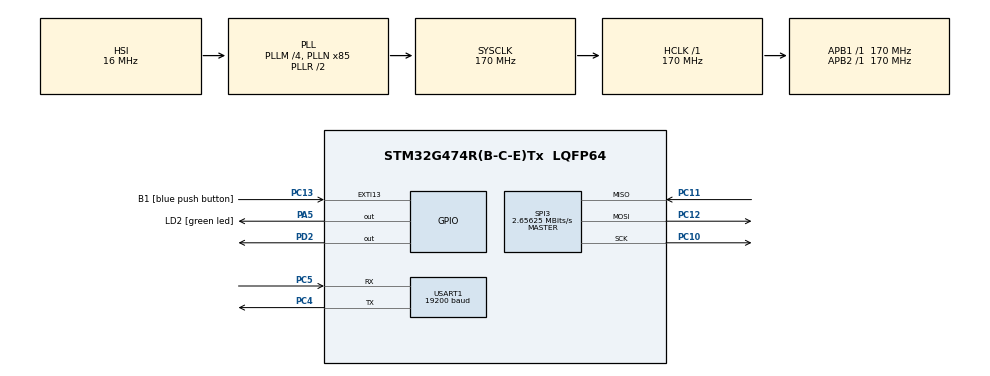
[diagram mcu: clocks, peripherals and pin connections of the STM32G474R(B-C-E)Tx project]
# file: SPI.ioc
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Mcu.Family=STM32G4
Mcu.Name=STM32G474R(B-C-E)Tx
Mcu.Package=LQFP64
NVIC.EXTI15_10_IRQn=true\:0\:0\:false\:false\:true\:true\:true\:true
NVIC.PriorityGroup=NVIC_PRIORITYGROUP_4
NVIC.SPI3_IRQn=true\:0\:0\:false\:false\:true\:true\:true\:true
NVIC.TIM1_UP_TIM16_IRQn=true\:0\:0\:false\:false\:true\:true\:true\:true
PA13.GPIO_Label=T_SWDIO
PA13.Mode=Serial_Wire
PA13.Signal=SYS_JTMS-SWDIO
PA14.GPIO_Label=T_SWCLK
PA14.Mode=Serial_Wire
PA14.Signal=SYS_JTCK-SWCLK
PA2.GPIO_Label=LPUART1_TX [STLINKV3E_VCP_RX]
PA2.Signal=LPUART1_TX
PA3.GPIO_Label=LPUART1_RX [STLINKV3E_VCP_TX]
PA3.Signal=LPUART1_RX
PA5.GPIO_Label=LD2 [green led]
PA5.Signal=GPIO_Output
PB3.GPIO_Label=T_SWO
PB3.Signal=SYS_JTDO-SWO
PC10.Mode=Full_Duplex_Master
PC10.Signal=SPI3_SCK
PC11.Mode=Full_Duplex_Master
PC11.Signal=SPI3_MISO
PC12.Mode=Full_Duplex_Master
PC12.Signal=SPI3_MOSI
PC13.GPIO_Label=B1 [blue push button]
PC13.Signal=GPXTI13
PC14-OSC32_IN.Mode=LSE-External-Oscillator
PC14-OSC32_IN.Signal=RCC_OSC32_IN
PC15-OSC32_OUT.Mode=LSE-External-Oscillator
PC15-OSC32_OUT.Signal=RCC_OSC32_OUT
PC4.Mode=Asynchronous
PC4.Signal=USART1_TX
PC5.Mode=Asynchronous
PC5.Signal=USART1_RX
PD2.PinState=GPIO_PIN_SET
PD2.Signal=GPIO_Output
PF0-OSC_IN.Mode=HSE-External-Oscillator
PF0-OSC_IN.Signal=RCC_OSC_IN
PF1-OSC_OUT.Mode=HSE-External-Oscillator
PF1-OSC_OUT.Signal=RCC_OSC_OUT
ProjectManager.HeapSize=0x200
ProjectManager.StackSize=0x400
ProjectManager.TargetToolchain=STM32CubeIDE
RCC.ADC12Freq_Value=170000000
RCC.ADC345Freq_Value=170000000
RCC.AHBFreq_Value=170000000
RCC.APB1Freq_Value=170000000
RCC.APB1TimFreq_Value=170000000
RCC.APB2Freq_Value=170000000
RCC.APB2TimFreq_Value=170000000
RCC.CortexFreq_Value=170000000
RCC.EXTERNAL_CLOCK_VALUE=12288000
RCC.HCLKFreq_Value=170000000
RCC.HSE_VALUE=24000000
RCC.HSI48_VALUE=48000000
RCC.HSI_VALUE=16000000
RCC.PLLM=RCC_PLLM_DIV4
RCC.PLLN=85
RCC.RTCClockSelection=RCC_RTCCLKSOURCE_LSE
RCC.SYSCLKFreq_VALUE=170000000
RCC.SYSCLKSource=RCC_SYSCLKSOURCE_PLLCLK
RCC.USBFreq_Value=170000000
RCC.VCOOutputFreq_Value=340000000
SPI3.BaudRatePrescaler=SPI_BAUDRATEPRESCALER_64
SPI3.CLKPolarity=SPI_POLARITY_LOW
SPI3.CalculateBaudRate=2.65625 MBits/s
SPI3.DataSize=SPI_DATASIZE_8BIT
SPI3.Direction=SPI_DIRECTION_2LINES
SPI3.Mode=SPI_MODE_MASTER
SPI3.VirtualType=VM_MASTER
TIM16.PeriodNoDither=1145
TIM16.Prescaler=169
USART1.BaudRate=19200
USART1.Parity=PARITY_EVEN
USART1.VirtualMode-Asynchronous=VM_ASYNC
USART1.WordLength=WORDLENGTH_9B
VP_SYS_VS_DBSignals.Mode=DisableDeadBatterySignals
VP_TIM16_VS_ClockSourceINT.Mode=Enable_Timer
VP_TIM16_VS_OPM.Mode=OPM_bit
board=NUCLEO-G474RE

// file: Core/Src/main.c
/* USER CODE BEGIN Header */
/**
  ******************************************************************************
  * @file           : main.c
  * @brief          : Main program body
  ******************************************************************************
  * @attention
  *
  * Copyright (c) 2024 STMicroelectronics.
  * All rights reserved.
  *
  * This software is licensed under terms that can be found in the LICENSE file
  * in the root directory of this software component.
  * If no LICENSE file comes with this software, it is provided AS-IS.
  *
  ******************************************************************************
  */
/* USER CODE END Header */
#include "main.h"

/* USER CODE BEGIN Includes */
#include "ModBusRTU.h"

/* USER CODE END Includes */

SPI_HandleTypeDef hspi3;

TIM_HandleTypeDef htim16;

UART_HandleTypeDef huart1;

/* USER CODE BEGIN PV */
uint8_t SPIRx[10];
uint8_t SPITx[10];
uint8_t Button[4];
uint8_t mode ;
uint8_t LightOrder[10];
uint8_t PushOrder[10];
uint8_t AnsCorrect=1;
uint8_t num;
uint8_t a[10];
uint8_t Rand;
uint8_t Equal;
uint8_t RandNum;
uint8_t LedOff;
uint8_t StartGame;
uint8_t Score;
uint8_t FinalScore;
/* USER CODE END PV */

void SystemClock_Config(void);
static void MX_GPIO_Init(void);
static void MX_SPI3_Init(void);
static void MX_TIM16_Init(void);
static void MX_USART1_UART_Init(void);
/* USER CODE BEGIN PFP */
void IODIRA_Init();
void IODIRB_Init();
void SPITxRx_Setup();
void SPITxRx_readIO();
void SPITxRx_writeIO();
uint8_t AnsCheck();
/* USER CODE END PFP */

int main(void)
{

  /* MCU Configuration--------------------------------------------------------*/

  /* Reset of all peripherals, Initializes the Flash interface and the Systick. */
  HAL_Init();

  /* Configure the system clock */
  SystemClock_Config();

  /* Initialize all configured peripherals */
  MX_GPIO_Init();
  MX_SPI3_Init();
  MX_TIM16_Init();
  MX_USART1_UART_Init();
  /* USER CODE BEGIN 2 */
  SPITxRx_Setup();
  IODIRB_Init(); //Led
  IODIRA_Init(); //Button
  num = 4;
  mode = 1;
  StartGame = 0;
  /* USER CODE END 2 */

  /* Infinite loop */
  while (1)
  {

    /* USER CODE BEGIN 3 */
	Rand = Rand +1;
	if(StartGame == 1){
		static uint64_t timestamp = 0;
		if (HAL_GetTick() > timestamp){
			if(mode == 1){
				  RandNum = (Rand%4)+1;
				  SPITxRx_writeIO();
				  a[0] += 1;
				  timestamp = HAL_GetTick() + 800;

			}else if(mode ==2){
				SPITxRx_readIO();

			}else if(mode ==3)
				a[9]=AnsCheck();
		}
	}else if(StartGame == 0){
		SPITxRx_readIO();
		}
	Score = num-4;

  }
  /* USER CODE END 3 */
}

void SystemClock_Config(void)
{
  RCC_OscInitTypeDef RCC_OscInitStruct = {0};
  RCC_ClkInitTypeDef RCC_ClkInitStruct = {0};

  /** Configure the main internal regulator output voltage
  */
  HAL_PWREx_ControlVoltageScaling(PWR_REGULATOR_VOLTAGE_SCALE1_BOOST);

  /** Initializes the RCC Oscillators according to the specified parameters
  * in the RCC_OscInitTypeDef structure.
  */
  RCC_OscInitStruct.OscillatorType = RCC_OSCILLATORTYPE_HSI;
  RCC_OscInitStruct.HSIState = RCC_HSI_ON;
  RCC_OscInitStruct.HSICalibrationValue = RCC_HSICALIBRATION_DEFAULT;
  RCC_OscInitStruct.PLL.PLLState = RCC_PLL_ON;
  RCC_OscInitStruct.PLL.PLLSource = RCC_PLLSOURCE_HSI;
  RCC_OscInitStruct.PLL.PLLM = RCC_PLLM_DIV4;
  RCC_OscInitStruct.PLL.PLLN = 85;
  RCC_OscInitStruct.PLL.PLLP = RCC_PLLP_DIV2;
  RCC_OscInitStruct.PLL.PLLQ = RCC_PLLQ_DIV2;
  RCC_OscInitStruct.PLL.PLLR = RCC_PLLR_DIV2;
  if (HAL_RCC_OscConfig(&RCC_OscInitStruct) != HAL_OK)
  {
    Error_Handler();
  }

  /** Initializes the CPU, AHB and APB buses clocks
  */
  RCC_ClkInitStruct.ClockType = RCC_CLOCKTYPE_HCLK|RCC_CLOCKTYPE_SYSCLK
                              |RCC_CLOCKTYPE_PCLK1|RCC_CLOCKTYPE_PCLK2;
  RCC_ClkInitStruct.SYSCLKSource = RCC_SYSCLKSOURCE_PLLCLK;
  RCC_ClkInitStruct.AHBCLKDivider = RCC_SYSCLK_DIV1;
  RCC_ClkInitStruct.APB1CLKDivider = RCC_HCLK_DIV1;
  RCC_ClkInitStruct.APB2CLKDivider = RCC_HCLK_DIV1;

  if (HAL_RCC_ClockConfig(&RCC_ClkInitStruct, FLASH_LATENCY_4) != HAL_OK)
  {
    Error_Handler();
  }
}

static void MX_SPI3_Init(void)
{

  /* SPI3 parameter configuration*/
  hspi3.Instance = SPI3;
  hspi3.Init.Mode = SPI_MODE_MASTER;
  hspi3.Init.Direction = SPI_DIRECTION_2LINES;
  hspi3.Init.DataSize = SPI_DATASIZE_8BIT;
  hspi3.Init.CLKPolarity = SPI_POLARITY_LOW;
  hspi3.Init.CLKPhase = SPI_PHASE_1EDGE;
  hspi3.Init.NSS = SPI_NSS_SOFT;
  hspi3.Init.BaudRatePrescaler = SPI_BAUDRATEPRESCALER_64;
  hspi3.Init.FirstBit = SPI_FIRSTBIT_MSB;
  hspi3.Init.TIMode = SPI_TIMODE_DISABLE;
  hspi3.Init.CRCCalculation = SPI_CRCCALCULATION_DISABLE;
  hspi3.Init.CRCPolynomial = 7;
  hspi3.Init.CRCLength = SPI_CRC_LENGTH_DATASIZE;
  hspi3.Init.NSSPMode = SPI_NSS_PULSE_ENABLE;
  if (HAL_SPI_Init(&hspi3) != HAL_OK)
  {
    Error_Handler();
  }

}

static void MX_TIM16_Init(void)
{

  htim16.Instance = TIM16;
  htim16.Init.Prescaler = 169;
  htim16.Init.CounterMode = TIM_COUNTERMODE_UP;
  htim16.Init.Period = 1145;
  htim16.Init.ClockDivision = TIM_CLOCKDIVISION_DIV1;
  htim16.Init.RepetitionCounter = 0;
  htim16.Init.AutoReloadPreload = TIM_AUTORELOAD_PRELOAD_DISABLE;
  if (HAL_TIM_Base_Init(&htim16) != HAL_OK)
  {
    Error_Handler();
  }
  if (HAL_TIM_OnePulse_Init(&htim16, TIM_OPMODE_SINGLE) != HAL_OK)
  {
    Error_Handler();
  }

}

static void MX_USART1_UART_Init(void)
{

  huart1.Instance = USART1;
  huart1.Init.BaudRate = 19200;
  huart1.Init.WordLength = UART_WORDLENGTH_9B;
  huart1.Init.StopBits = UART_STOPBITS_1;
  huart1.Init.Parity = UART_PARITY_EVEN;
  huart1.Init.Mode = UART_MODE_TX_RX;
  huart1.Init.HwFlowCtl = UART_HWCONTROL_NONE;
  huart1.Init.OverSampling = UART_OVERSAMPLING_16;
  huart1.Init.OneBitSampling = UART_ONE_BIT_SAMPLE_DISABLE;
  huart1.Init.ClockPrescaler = UART_PRESCALER_DIV1;
  huart1.AdvancedInit.AdvFeatureInit = UART_ADVFEATURE_NO_INIT;
  if (HAL_UART_Init(&huart1) != HAL_OK)
  {
    Error_Handler();
  }
  if (HAL_UARTEx_SetTxFifoThreshold(&huart1, UART_TXFIFO_THRESHOLD_1_8) != HAL_OK)
  {
    Error_Handler();
  }
  if (HAL_UARTEx_SetRxFifoThreshold(&huart1, UART_RXFIFO_THRESHOLD_1_8) != HAL_OK)
  {
    Error_Handler();
  }
  if (HAL_UARTEx_DisableFifoMode(&huart1) != HAL_OK)
  {
    Error_Handler();
  }

}

static void MX_GPIO_Init(void)
{
  GPIO_InitTypeDef GPIO_InitStruct = {0};

  /* GPIO Ports Clock Enable */
  __HAL_RCC_GPIOC_CLK_ENABLE();
  __HAL_RCC_GPIOF_CLK_ENABLE();
  __HAL_RCC_GPIOA_CLK_ENABLE();
  __HAL_RCC_GPIOD_CLK_ENABLE();
  __HAL_RCC_GPIOB_CLK_ENABLE();

  /*Configure GPIO pin Output Level */
  HAL_GPIO_WritePin(LD2_GPIO_Port, LD2_Pin, GPIO_PIN_RESET);

  /*Configure GPIO pin Output Level */
  HAL_GPIO_WritePin(GPIOD, GPIO_PIN_2, GPIO_PIN_SET);

  /*Configure GPIO pin : B1_Pin */
  GPIO_InitStruct.Pin = B1_Pin;
  GPIO_InitStruct.Mode = GPIO_MODE_IT_RISING;
  GPIO_InitStruct.Pull = GPIO_NOPULL;
  HAL_GPIO_Init(B1_GPIO_Port, &GPIO_InitStruct);

  /*Configure GPIO pins : LPUART1_TX_Pin LPUART1_RX_Pin */
  GPIO_InitStruct.Pin = LPUART1_TX_Pin|LPUART1_RX_Pin;
  GPIO_InitStruct.Mode = GPIO_MODE_AF_PP;
  GPIO_InitStruct.Pull = GPIO_NOPULL;
  GPIO_InitStruct.Speed = GPIO_SPEED_FREQ_LOW;
  GPIO_InitStruct.Alternate = GPIO_AF12_LPUART1;
  HAL_GPIO_Init(GPIOA, &GPIO_InitStruct);

  /*Configure GPIO pin : LD2_Pin */
  GPIO_InitStruct.Pin = LD2_Pin;
  GPIO_InitStruct.Mode = GPIO_MODE_OUTPUT_PP;
  GPIO_InitStruct.Pull = GPIO_NOPULL;
  GPIO_InitStruct.Speed = GPIO_SPEED_FREQ_LOW;
  HAL_GPIO_Init(LD2_GPIO_Port, &GPIO_InitStruct);

  /*Configure GPIO pin : PD2 */
  GPIO_InitStruct.Pin = GPIO_PIN_2;
  GPIO_InitStruct.Mode = GPIO_MODE_OUTPUT_PP;
  GPIO_InitStruct.Pull = GPIO_NOPULL;
  GPIO_InitStruct.Speed = GPIO_SPEED_FREQ_LOW;
  HAL_GPIO_Init(GPIOD, &GPIO_InitStruct);

  /* EXTI interrupt init*/
  HAL_NVIC_SetPriority(EXTI15_10_IRQn, 0, 0);
  HAL_NVIC_EnableIRQ(EXTI15_10_IRQn);

}

/* USER CODE BEGIN 4 */

void SPITxRx_readIO() //mode2
{
	if(HAL_GPIO_ReadPin(GPIOD,GPIO_PIN_2)){
		HAL_GPIO_WritePin(GPIOD, GPIO_PIN_2, 0); // CS Select
		SPITx[0] = 0b01000001;
		SPITx[1] = 0x12;
		SPITx[2] = 0;

		if(SPIRx[2]== 14){
			a[4] = 1;
			StartGame =1;
		}else if(SPIRx[2]== 13){
			a[4] = 2;
		}else if(SPIRx[2]== 11){
			a[4] = 3;
		}else if(SPIRx[2]== 7){
			a[4] = 4;
		}else{
			a[4] = 5;
		}

		if(a[5]!=a[4] && a[4] == 5 && a[5] != 0){
			PushOrder[a[2]-1] = a[5];
			a[2]=a[2]+1;
		}
		// set a[5] = old a[4]
		a[5] = a[4];
		a[8] +=1 ;

		if(a[2] > num){
			a[7] =1;
			mode = 3;
			a[2] = 1;
		}

	HAL_SPI_TransmitReceive_IT(&hspi3, SPITx, SPIRx, 3);

}}

void SPITxRx_writeIO(){ //mode1
	if(HAL_GPIO_ReadPin(GPIOD,GPIO_PIN_2)){
		HAL_GPIO_WritePin(GPIOD, GPIO_PIN_2, 0); // CS Select
		if(LedOff == 0){
			SPITx[0] = 0b01000000;
			SPITx[1] = 0x15;
				if(RandNum == 1){
					SPITx[2] = ~(0b00000001);
					LedOff = 1 ;
					a[3] = 1;
				}else if(RandNum == 2){
					SPITx[2] = ~(0b00000010);
					LedOff = 1 ;
					a[3] = 2;
				}else if(RandNum == 3){
					SPITx[2] = ~(0b00000100);
					LedOff = 1 ;
					a[3] = 3;
				}else if(RandNum == 4){
					SPITx[2] = ~(0b00001000);
					LedOff = 1 ;
					a[3] = 4;
				}
			LightOrder[a[1]] = a[3];
			a[1] = a[1]+1;

		}else if(a[1] >= num){
			LedOff = 0;
			SPITx[2] = 0b00000000;
			mode = 2;
			a[1] = 0;

		}
		else if(LedOff == 1){
			SPITx[0] = 0b01000000;
			SPITx[1] = 0x15;
			SPITx[2] = 0b11111111;
			LedOff = 0;
		}
		HAL_SPI_TransmitReceive_IT(&hspi3, SPITx, SPIRx, 3);

	}}

uint8_t AnsCheck(){
	if(LightOrder[a[6]]!=PushOrder[a[6]]){
		StartGame = 0;
		mode = 1;
		FinalScore = Score;
		num = 4;
		a[2] = 1;
	}else{
		a[6] = a[6] + 1;
	}

	if(a[6] > num){
		a[6] = 0;
		num += 1;
		mode = 1;
	}
}

//void HAL_TIM_PeriodElapsedCallback(TIM_HandleTypeDef *htim){
//	if()
//}
void SPITxRx_Setup(){
	//CS pulse
	HAL_GPIO_WritePin(GPIOD, GPIO_PIN_2, 0); // CS Select
	HAL_Delay(1);
	HAL_GPIO_WritePin(GPIOD, GPIO_PIN_2, 1); // CS deSelect
	HAL_Delay(1);
}

void IODIRB_Init(){
	if(HAL_GPIO_ReadPin(GPIOD,GPIO_PIN_2)){
		HAL_GPIO_WritePin(GPIOD, GPIO_PIN_2, 0); // CS Select
		SPITx[0] = 0b01000000;
		SPITx[1] = 0x01;
		SPITx[2] = 0;
		HAL_SPI_TransmitReceive_IT(&hspi3, SPITx, SPIRx, 3);
}}

void IODIRA_Init(){
	if(HAL_GPIO_ReadPin(GPIOD,GPIO_PIN_2)){
		HAL_GPIO_WritePin(GPIOD, GPIO_PIN_2, 0); // CS Select
		SPITx[0] = 0b01000001;
		SPITx[1] = 0x00;
		SPITx[2] = 0;
		HAL_SPI_TransmitReceive_IT(&hspi3, SPITx, SPIRx, 3);
}}

void HAL_SPI_TxRxCpltCallback(SPI_HandleTypeDef *hspi)
{
	HAL_GPIO_WritePin(GPIOD, GPIO_PIN_2, 1); //CS dnSelect
}

/* USER CODE END 4 */

void Error_Handler(void)
{
  __disable_irq();
  while (1)
  {
  }
}
